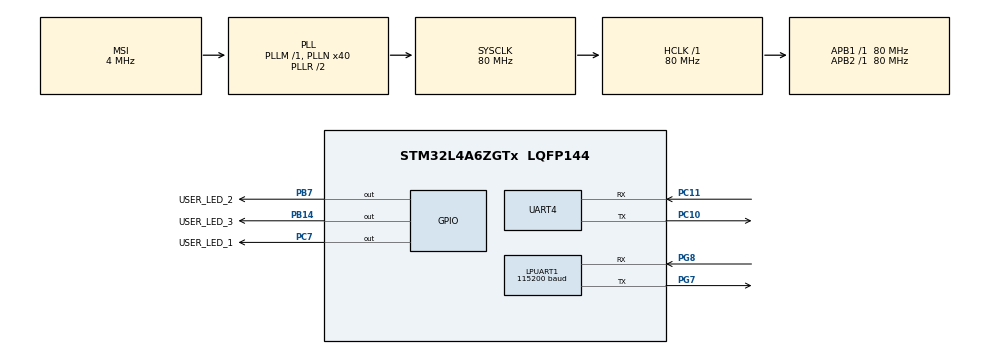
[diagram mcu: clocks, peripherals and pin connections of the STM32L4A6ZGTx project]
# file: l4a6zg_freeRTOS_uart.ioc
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FREERTOS.BinarySemaphores01=uartRxSem01,Dynamic,NULL;uartTxSem01,Dynamic,NULL;uartRxSem02,Dynamic,NULL;uartTxSem02,Dynamic,NULL
FREERTOS.Queues01=uartQueue01,16,uint16_t,0,Dynamic,NULL,NULL;uartQueue02,16,uint16_t,0,Dynamic,NULL,NULL
FREERTOS.Tasks01=defaultTask,24,128,StartDefaultTask,Default,NULL,Dynamic,NULL,NULL;uartTask1,8,128,startUart1,Default,NULL,Dynamic,NULL,NULL;uartTask2,8,128,startUart2,Default,NULL,Dynamic,NULL,NULL
FREERTOS.configUSE_NEWLIB_REENTRANT=1
LPUART1.BaudRate=115200
LPUART1.WordLength=UART_WORDLENGTH_8B
Mcu.Family=STM32L4
Mcu.Name=STM32L4A6ZGTx
Mcu.Package=LQFP144
NVIC.LPUART1_IRQn=true\:5\:0\:false\:false\:true\:true\:true\:true\:true
NVIC.PriorityGroup=NVIC_PRIORITYGROUP_4
NVIC.TIM1_TRG_COM_TIM17_IRQn=true\:15\:0\:false\:false\:true\:false\:false\:true\:true
NVIC.TimeBase=TIM1_TRG_COM_TIM17_IRQn
NVIC.TimeBaseIP=TIM17
NVIC.UART4_IRQn=true\:5\:0\:false\:false\:true\:true\:true\:true\:true
PA13\ (JTMS/SWDIO).Mode=Trace_Asynchronous_SW
PA13\ (JTMS/SWDIO).Signal=SYS_JTMS-SWDIO
PA14\ (JTCK/SWCLK).Mode=Trace_Asynchronous_SW
PA14\ (JTCK/SWCLK).Signal=SYS_JTCK-SWCLK
PB14.GPIO_Label=USER_LED_3
PB14.Signal=GPIO_Output
PB3\ (JTDO/TRACESWO).Mode=Trace_Asynchronous_SW
PB3\ (JTDO/TRACESWO).Signal=SYS_JTDO-SWO
PB7.GPIO_Label=USER_LED_2
PB7.Signal=GPIO_Output
PC10.Mode=Asynchronous
PC10.Signal=UART4_TX
PC11.Mode=Asynchronous
PC11.Signal=UART4_RX
PC14-OSC32_IN\ (PC14).Mode=LSE-External-Oscillator
PC14-OSC32_IN\ (PC14).Signal=RCC_OSC32_IN
PC15-OSC32_OUT\ (PC15).Mode=LSE-External-Oscillator
PC15-OSC32_OUT\ (PC15).Signal=RCC_OSC32_OUT
PC7.GPIO_Label=USER_LED_1
PC7.Signal=GPIO_Output
PG7.Mode=Asynchronous
PG7.Signal=LPUART1_TX
PG8.Mode=Asynchronous
PG8.Signal=LPUART1_RX
PH0-OSC_IN\ (PH0).Mode=HSE-External-Oscillator
PH0-OSC_IN\ (PH0).Signal=RCC_OSC_IN
PH1-OSC_OUT\ (PH1).Mode=HSE-External-Oscillator
PH1-OSC_OUT\ (PH1).Signal=RCC_OSC_OUT
ProjectManager.HeapSize=0x200
ProjectManager.StackSize=0x400
ProjectManager.TargetToolchain=STM32CubeIDE
RCC.AHBFreq_Value=80000000
RCC.APB1Freq_Value=80000000
RCC.APB1TimFreq_Value=80000000
RCC.APB2Freq_Value=80000000
RCC.APB2TimFreq_Value=80000000
RCC.CortexFreq_Value=80000000
RCC.HCLKFreq_Value=80000000
RCC.HSE_VALUE=8000000
RCC.HSI48_VALUE=48000000
RCC.HSI_VALUE=16000000
RCC.MSI_VALUE=4000000
RCC.PLLN=40
RCC.SYSCLKFreq_VALUE=80000000
RCC.SYSCLKSource=RCC_SYSCLKSOURCE_PLLCLK
RCC.VCOOutputFreq_Value=160000000
VP_FREERTOS_VS_CMSIS_V2.Mode=CMSIS_V2
VP_SYS_VS_tim17.Mode=TIM17
board=custom

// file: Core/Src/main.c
/* USER CODE BEGIN Header */
/**
  ******************************************************************************
  * @file           : main.c
  * @brief          : Main program body
  ******************************************************************************
  * @attention
  *
  * Copyright (c) 2024 STMicroelectronics.
  * All rights reserved.
  *
  * This software is licensed under terms that can be found in the LICENSE file
  * in the root directory of this software component.
  * If no LICENSE file comes with this software, it is provided AS-IS.
  *
  ******************************************************************************
  */
/* USER CODE END Header */
#include "main.h"
#include "cmsis_os.h"

/* USER CODE BEGIN Includes */
#include <stdio.h>
/* USER CODE END Includes */

UART_HandleTypeDef hlpuart1;
UART_HandleTypeDef huart4;

/* Definitions for defaultTask */
osThreadId_t defaultTaskHandle;
const osThreadAttr_t defaultTask_attributes = {
  .name = "defaultTask",
  .stack_size = 128 * 4,
  .priority = (osPriority_t) osPriorityNormal,
};
/* Definitions for uartTask1 */
osThreadId_t uartTask1Handle;
const osThreadAttr_t uartTask1_attributes = {
  .name = "uartTask1",
  .stack_size = 128 * 4,
  .priority = (osPriority_t) osPriorityLow,
};
/* Definitions for uartTask2 */
osThreadId_t uartTask2Handle;
const osThreadAttr_t uartTask2_attributes = {
  .name = "uartTask2",
  .stack_size = 128 * 4,
  .priority = (osPriority_t) osPriorityLow,
};
/* Definitions for uartQueue01 */
osMessageQueueId_t uartQueue01Handle;
const osMessageQueueAttr_t uartQueue01_attributes = {
  .name = "uartQueue01"
};
/* Definitions for uartQueue02 */
osMessageQueueId_t uartQueue02Handle;
const osMessageQueueAttr_t uartQueue02_attributes = {
  .name = "uartQueue02"
};
/* Definitions for uartRxSem01 */
osSemaphoreId_t uartRxSem01Handle;
const osSemaphoreAttr_t uartRxSem01_attributes = {
  .name = "uartRxSem01"
};
/* Definitions for uartTxSem01 */
osSemaphoreId_t uartTxSem01Handle;
const osSemaphoreAttr_t uartTxSem01_attributes = {
  .name = "uartTxSem01"
};
/* Definitions for uartRxSem02 */
osSemaphoreId_t uartRxSem02Handle;
const osSemaphoreAttr_t uartRxSem02_attributes = {
  .name = "uartRxSem02"
};
/* Definitions for uartTxSem02 */
osSemaphoreId_t uartTxSem02Handle;
const osSemaphoreAttr_t uartTxSem02_attributes = {
  .name = "uartTxSem02"
};
/* USER CODE BEGIN PV */
uint8_t RxBuf_uart1;
uint8_t TxBuf_uart1;
uint8_t RxBuf_uart2;
uint8_t TxBuf_uart2;
/* USER CODE END PV */

void SystemClock_Config(void);
static void MX_GPIO_Init(void);
static void MX_LPUART1_UART_Init(void);
static void MX_UART4_Init(void);
void StartDefaultTask(void *argument);
void startUart1(void *argument);
void startUart2(void *argument);

/* USER CODE BEGIN PFP */
void HAL_UART_RxCpltCallback(UART_HandleTypeDef *huart);
void HAL_UART_TxCpltCallback(UART_HandleTypeDef *huart);
int _write(int32_t file, uint8_t *ptr, int32_t len);
/* USER CODE END PFP */

int main(void)
{

  /* MCU Configuration--------------------------------------------------------*/

  /* Reset of all peripherals, Initializes the Flash interface and the Systick. */
  HAL_Init();

  /* Configure the system clock */
  SystemClock_Config();

  /* Initialize all configured peripherals */
  MX_GPIO_Init();
  MX_LPUART1_UART_Init();
  MX_UART4_Init();
  /* USER CODE BEGIN 2 */
  //test debug mode
printf("Hello \n");
printf("Hello_again \n");

  /* USER CODE END 2 */

  /* Init scheduler */
  osKernelInitialize();

  /* Create the semaphores(s) */
  /* creation of uartRxSem01 */
  uartRxSem01Handle = osSemaphoreNew(1, 0, &uartRxSem01_attributes);

  /* creation of uartTxSem01 */
  uartTxSem01Handle = osSemaphoreNew(1, 0, &uartTxSem01_attributes);

  /* creation of uartRxSem02 */
  uartRxSem02Handle = osSemaphoreNew(1, 0, &uartRxSem02_attributes);

  /* creation of uartTxSem02 */
  uartTxSem02Handle = osSemaphoreNew(1, 0, &uartTxSem02_attributes);

  /* Create the queue(s) */
  /* creation of uartQueue01 */
  uartQueue01Handle = osMessageQueueNew (16, sizeof(uint16_t), &uartQueue01_attributes);

  /* creation of uartQueue02 */
  uartQueue02Handle = osMessageQueueNew (16, sizeof(uint16_t), &uartQueue02_attributes);

  /* Create the thread(s) */
  /* creation of defaultTask */
  defaultTaskHandle = osThreadNew(StartDefaultTask, NULL, &defaultTask_attributes);

  /* creation of uartTask1 */
  uartTask1Handle = osThreadNew(startUart1, NULL, &uartTask1_attributes);

  /* creation of uartTask2 */
  uartTask2Handle = osThreadNew(startUart2, NULL, &uartTask2_attributes);

  /* Start scheduler */
  osKernelStart();

  /* We should never get here as control is now taken by the scheduler */
  /* Infinite loop */
  while (1)
  {

  }
}

void SystemClock_Config(void)
{
  RCC_OscInitTypeDef RCC_OscInitStruct = {0};
  RCC_ClkInitTypeDef RCC_ClkInitStruct = {0};

  /** Configure the main internal regulator output voltage
  */
  if (HAL_PWREx_ControlVoltageScaling(PWR_REGULATOR_VOLTAGE_SCALE1) != HAL_OK)
  {
    Error_Handler();
  }

  /** Initializes the RCC Oscillators according to the specified parameters
  * in the RCC_OscInitTypeDef structure.
  */
  RCC_OscInitStruct.OscillatorType = RCC_OSCILLATORTYPE_MSI;
  RCC_OscInitStruct.MSIState = RCC_MSI_ON;
  RCC_OscInitStruct.MSICalibrationValue = 0;
  RCC_OscInitStruct.MSIClockRange = RCC_MSIRANGE_6;
  RCC_OscInitStruct.PLL.PLLState = RCC_PLL_ON;
  RCC_OscInitStruct.PLL.PLLSource = RCC_PLLSOURCE_MSI;
  RCC_OscInitStruct.PLL.PLLM = 1;
  RCC_OscInitStruct.PLL.PLLN = 40;
  RCC_OscInitStruct.PLL.PLLP = RCC_PLLP_DIV2;
  RCC_OscInitStruct.PLL.PLLQ = RCC_PLLQ_DIV2;
  RCC_OscInitStruct.PLL.PLLR = RCC_PLLR_DIV2;
  if (HAL_RCC_OscConfig(&RCC_OscInitStruct) != HAL_OK)
  {
    Error_Handler();
  }

  /** Initializes the CPU, AHB and APB buses clocks
  */
  RCC_ClkInitStruct.ClockType = RCC_CLOCKTYPE_HCLK|RCC_CLOCKTYPE_SYSCLK
                              |RCC_CLOCKTYPE_PCLK1|RCC_CLOCKTYPE_PCLK2;
  RCC_ClkInitStruct.SYSCLKSource = RCC_SYSCLKSOURCE_PLLCLK;
  RCC_ClkInitStruct.AHBCLKDivider = RCC_SYSCLK_DIV1;
  RCC_ClkInitStruct.APB1CLKDivider = RCC_HCLK_DIV1;
  RCC_ClkInitStruct.APB2CLKDivider = RCC_HCLK_DIV1;

  if (HAL_RCC_ClockConfig(&RCC_ClkInitStruct, FLASH_LATENCY_4) != HAL_OK)
  {
    Error_Handler();
  }
}

static void MX_LPUART1_UART_Init(void)
{

  hlpuart1.Instance = LPUART1;
  hlpuart1.Init.BaudRate = 115200;
  hlpuart1.Init.WordLength = UART_WORDLENGTH_8B;
  hlpuart1.Init.StopBits = UART_STOPBITS_1;
  hlpuart1.Init.Parity = UART_PARITY_NONE;
  hlpuart1.Init.Mode = UART_MODE_TX_RX;
  hlpuart1.Init.HwFlowCtl = UART_HWCONTROL_NONE;
  hlpuart1.Init.OneBitSampling = UART_ONE_BIT_SAMPLE_DISABLE;
  hlpuart1.AdvancedInit.AdvFeatureInit = UART_ADVFEATURE_NO_INIT;
  if (HAL_UART_Init(&hlpuart1) != HAL_OK)
  {
    Error_Handler();
  }

}

static void MX_UART4_Init(void)
{

  huart4.Instance = UART4;
  huart4.Init.BaudRate = 115200;
  huart4.Init.WordLength = UART_WORDLENGTH_8B;
  huart4.Init.StopBits = UART_STOPBITS_1;
  huart4.Init.Parity = UART_PARITY_NONE;
  huart4.Init.Mode = UART_MODE_TX_RX;
  huart4.Init.HwFlowCtl = UART_HWCONTROL_NONE;
  huart4.Init.OverSampling = UART_OVERSAMPLING_16;
  huart4.Init.OneBitSampling = UART_ONE_BIT_SAMPLE_DISABLE;
  huart4.AdvancedInit.AdvFeatureInit = UART_ADVFEATURE_NO_INIT;
  if (HAL_UART_Init(&huart4) != HAL_OK)
  {
    Error_Handler();
  }

}

static void MX_GPIO_Init(void)
{
  GPIO_InitTypeDef GPIO_InitStruct = {0};

  /* GPIO Ports Clock Enable */
  __HAL_RCC_GPIOC_CLK_ENABLE();
  __HAL_RCC_GPIOH_CLK_ENABLE();
  __HAL_RCC_GPIOB_CLK_ENABLE();
  __HAL_RCC_GPIOG_CLK_ENABLE();
  HAL_PWREx_EnableVddIO2();
  __HAL_RCC_GPIOA_CLK_ENABLE();

  /*Configure GPIO pin Output Level */
  HAL_GPIO_WritePin(GPIOB, USER_LED_3_Pin|USER_LED_2_Pin, GPIO_PIN_RESET);

  /*Configure GPIO pin Output Level */
  HAL_GPIO_WritePin(USER_LED_1_GPIO_Port, USER_LED_1_Pin, GPIO_PIN_RESET);

  /*Configure GPIO pins : USER_LED_3_Pin USER_LED_2_Pin */
  GPIO_InitStruct.Pin = USER_LED_3_Pin|USER_LED_2_Pin;
  GPIO_InitStruct.Mode = GPIO_MODE_OUTPUT_PP;
  GPIO_InitStruct.Pull = GPIO_NOPULL;
  GPIO_InitStruct.Speed = GPIO_SPEED_FREQ_LOW;
  HAL_GPIO_Init(GPIOB, &GPIO_InitStruct);

  /*Configure GPIO pin : USER_LED_1_Pin */
  GPIO_InitStruct.Pin = USER_LED_1_Pin;
  GPIO_InitStruct.Mode = GPIO_MODE_OUTPUT_PP;
  GPIO_InitStruct.Pull = GPIO_NOPULL;
  GPIO_InitStruct.Speed = GPIO_SPEED_FREQ_LOW;
  HAL_GPIO_Init(USER_LED_1_GPIO_Port, &GPIO_InitStruct);

}

/* USER CODE BEGIN 4 */
void HAL_UART_RxCpltCallback(UART_HandleTypeDef *huart)
{
	if(huart == &huart4)
	{
		osSemaphoreRelease(uartRxSem01Handle);			//create semaphore for uart 1
		HAL_UART_Receive_IT(&huart4, &RxBuf_uart1, 1);	//interrupt Rx for uart 1
	}

	else if(huart == &hlpuart1)
	{
		osSemaphoreRelease(uartRxSem02Handle);			//create semaphore for uart2
		HAL_UART_Receive_IT(&hlpuart1, &RxBuf_uart2, 1);//interrupt Rx for uart 2
	}
}

void HAL_UART_TxCpltCallback(UART_HandleTypeDef *huart)
{

}
/*custom function for debug mod*/
int _write(int32_t file, uint8_t *ptr, int32_t len)
{
	for(int i = 0; i < len; i++)
	{
		ITM_SendChar(*ptr++);
	}
	return len;
}
/* USER CODE END 4 */

void StartDefaultTask(void *argument)
{
  /* USER CODE BEGIN 5 */
  /* Infinite loop */
  for(;;)
  {
	  HAL_GPIO_TogglePin(USER_LED_1_GPIO_Port,USER_LED_1_Pin);	//debug led for corect work stm
    osDelay(1000);
  }
  /* USER CODE END 5 */
}

void startUart1(void *argument)
{
  /* USER CODE BEGIN startUart1 */
  /* Infinite loop */
  for(;;)
  {
	  HAL_UART_Receive_IT(&huart4, &RxBuf_uart1, 1);			//
	  osSemaphoreAcquire(uartRxSem01Handle, osWaitForever);		//whait uart1 semaphore
	  TxBuf_uart2 = RxBuf_uart1;
	  HAL_UART_Transmit_IT(&hlpuart1, &TxBuf_uart2, 1);			//
	  HAL_GPIO_TogglePin(USER_LED_2_GPIO_Port, USER_LED_2_Pin);	//debug led for correct transmit/resive data
  }
  /* USER CODE END startUart1 */
}

void startUart2(void *argument)
{
  /* USER CODE BEGIN startUart2 */
  /* Infinite loop */
  for(;;)
  {
	  HAL_UART_Receive_IT(&hlpuart1, &RxBuf_uart2, 1);			//
	  osSemaphoreAcquire(uartRxSem02Handle, osWaitForever);		//whait uart2 semaphore
	  TxBuf_uart1 = RxBuf_uart2;
	  HAL_UART_Transmit_IT(&huart4, &TxBuf_uart1, 1);			//
	  HAL_GPIO_TogglePin(USER_LED_3_GPIO_Port, USER_LED_3_Pin);	//debug led for correct transmit/resive data
  }
  /* USER CODE END startUart2 */
}

void HAL_TIM_PeriodElapsedCallback(TIM_HandleTypeDef *htim)
{
  if (htim->Instance == TIM17) {
    HAL_IncTick();
  }
}

void Error_Handler(void)
{
  __disable_irq();
  while (1)
  {
  }
}
